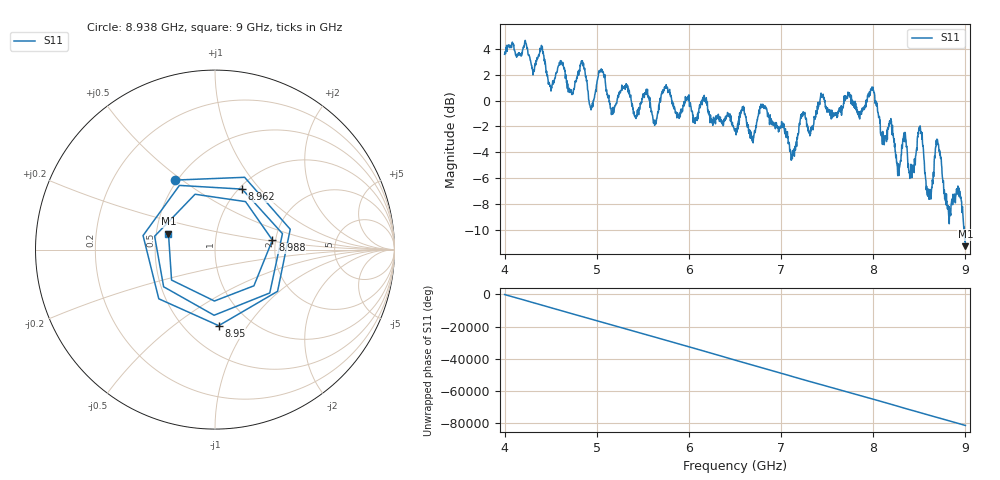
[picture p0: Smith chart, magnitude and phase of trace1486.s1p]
! Created with skrf 1.8.0 (http://scikit-rf.org).
# Hz S RI R 50.0
!freq ReS11 ImS11
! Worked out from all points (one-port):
!   1601 points, 4 GHz to 9 GHz, reference 50 ohm
!   lowest |S11| = -11.3 dB at 9 GHz (marker M1), VSWR 1.75, Z = 29 + j5.54 ohm
!   |S11| at or under -10 dB: 8.988822 GHz to end of sweep
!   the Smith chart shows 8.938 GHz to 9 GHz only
!   S11 on the Smith chart (normalised r, x): 8.938 GHz: 0.49, +0.47; 8.95 GHz: 0.72, -0.74; 8.962 GHz: 1.04, +0.81; 8.988 GHz: 1.92, +0.23; 9 GHz: 0.58, +0.11
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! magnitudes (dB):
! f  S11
! 4 GHz  3.6
! 4.4 GHz  4.3
! 4.5 GHz  1.1
! 4.625 GHz  2.8
! 4.719 GHz  0.6
! 4.847 GHz  2.8
! 4.938 GHz  -0.7
! 5.044 GHz  2.4
! 5.162 GHz  -0.9
! 5.25 GHz  0.7
! 5.875 GHz  -0.9
! 6.5 GHz  -2.3
! 6.806 GHz  -0.3
! 7.125 GHz  -3.9
! 7.234 GHz  -1.2
! 7.75 GHz  0.2
! 7.991 GHz  0.8
! 8.103 GHz  -2.4
! 8.375 GHz  -4.5
! 8.506 GHz  -2.1
! 8.6 GHz  -7.1
! 8.7 GHz  -3.2
! 8.816 GHz  -8.6
! 8.938 GHz  -7.0
! 8.95 GHz  -7.4
! 8.962 GHz  -8.6
! 8.988 GHz  -9.8
! 9 GHz  -11.3
